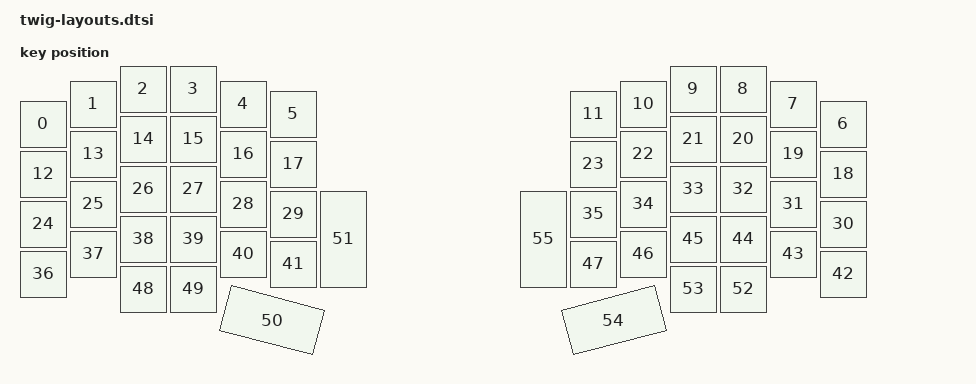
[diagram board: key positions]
#include "position_map.dtsi"
#include <physical_layouts.dtsi>

/ {
    twig_layout: twig_layout {
        compatible = "zmk,physical-layout";
        display-name = "LAYOUT";

        keys  //                     w   h    x    y     rot    rx    ry
        = <&key_physical_attrs 100 100    0   70       0     0     0>
        , <&key_physical_attrs 100 100  100   30       0     0     0>
        , <&key_physical_attrs 100 100  200    0       0     0     0>
        , <&key_physical_attrs 100 100  300    0       0     0     0>
        , <&key_physical_attrs 100 100  400   30       0     0     0>
        , <&key_physical_attrs 100 100  500   50       0     0     0>
        , <&key_physical_attrs 100 100 1600   70       0     0     0>
        , <&key_physical_attrs 100 100 1500   30       0     0     0>
        , <&key_physical_attrs 100 100 1400    0       0     0     0>
        , <&key_physical_attrs 100 100 1300    0       0     0     0>
        , <&key_physical_attrs 100 100 1200   30       0     0     0>
        , <&key_physical_attrs 100 100 1100   50       0     0     0>
        , <&key_physical_attrs 100 100    0  170       0     0     0>
        , <&key_physical_attrs 100 100  100  130       0     0     0>
        , <&key_physical_attrs 100 100  200  100       0     0     0>
        , <&key_physical_attrs 100 100  300  100       0     0     0>
        , <&key_physical_attrs 100 100  400  130       0     0     0>
        , <&key_physical_attrs 100 100  500  150       0     0     0>
        , <&key_physical_attrs 100 100 1600  170       0     0     0>
        , <&key_physical_attrs 100 100 1500  130       0     0     0>
        , <&key_physical_attrs 100 100 1400  100       0     0     0>
        , <&key_physical_attrs 100 100 1300  100       0     0     0>
        , <&key_physical_attrs 100 100 1200  130       0     0     0>
        , <&key_physical_attrs 100 100 1100  150       0     0     0>
        , <&key_physical_attrs 100 100    0  270       0     0     0>
        , <&key_physical_attrs 100 100  100  230       0     0     0>
        , <&key_physical_attrs 100 100  200  200       0     0     0>
        , <&key_physical_attrs 100 100  300  200       0     0     0>
        , <&key_physical_attrs 100 100  400  230       0     0     0>
        , <&key_physical_attrs 100 100  500  250       0     0     0>
        , <&key_physical_attrs 100 100 1600  270       0     0     0>
        , <&key_physical_attrs 100 100 1500  230       0     0     0>
        , <&key_physical_attrs 100 100 1400  200       0     0     0>
        , <&key_physical_attrs 100 100 1300  200       0     0     0>
        , <&key_physical_attrs 100 100 1200  230       0     0     0>
        , <&key_physical_attrs 100 100 1100  250       0     0     0>
        , <&key_physical_attrs 100 100    0  370       0     0     0>
        , <&key_physical_attrs 100 100  100  330       0     0     0>
        , <&key_physical_attrs 100 100  200  300       0     0     0>
        , <&key_physical_attrs 100 100  300  300       0     0     0>
        , <&key_physical_attrs 100 100  400  330       0     0     0>
        , <&key_physical_attrs 100 100  500  350       0     0     0>
        , <&key_physical_attrs 100 100 1600  370       0     0     0>
        , <&key_physical_attrs 100 100 1500  330       0     0     0>
        , <&key_physical_attrs 100 100 1400  300       0     0     0>
        , <&key_physical_attrs 100 100 1300  300       0     0     0>
        , <&key_physical_attrs 100 100 1200  330       0     0     0>
        , <&key_physical_attrs 100 100 1100  350       0     0     0>
        , <&key_physical_attrs 100 100  200  400       0     0     0>
        , <&key_physical_attrs 100 100  300  400       0     0     0>
        , <&key_physical_attrs 200 100  410  460    1500   500   505>
        , <&key_physical_attrs 100 200  600  250       0     0     0>
        , <&key_physical_attrs 100 100 1400  400       0     0     0>
        , <&key_physical_attrs 100 100 1300  400       0     0     0>
        , <&key_physical_attrs 200 100 1090  460 (-1500)  1200   505>
        , <&key_physical_attrs 100 200 1000  250       0     0     0>
        ;
    };
};

&layouts_twig_position_map {
    twig_posmap: six {
        physical-layout = <&twig_layout>;
        positions
        = < 0  1  2  3  4  5  6  7  8  9 10 11>
        , <12 13 14 15 16 17 18 19 20 21 22 23>
        , <24 25 26 27 28 29 30 31 32 33 34 35>
        , <36 37 38 39 40 41 42 43 44 45 46 47>
        , <      48 49 50 51 52 53 54 55      >;
    };
};
